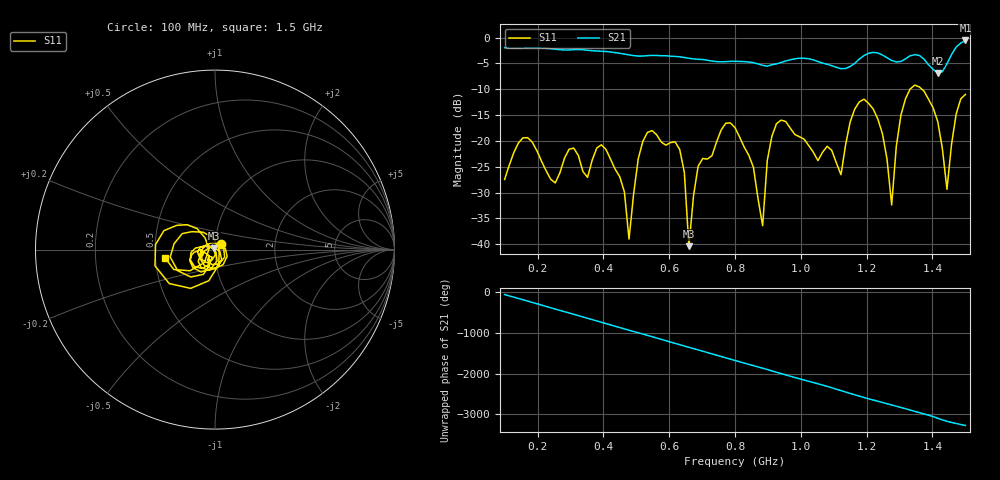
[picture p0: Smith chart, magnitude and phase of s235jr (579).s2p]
! NanoVNA-App
! Date: 2025-09-25 15:08:40
! Start: 100MHz Stop: 1,5GHz Points: 101
! S-Parameter data: F S11 S21 S12 S22
# Hz S RI R 50
!  Frequency  S11_Real  S11_Imag  S21_Real  S21_Imag  S12_Real  S12_Imag  S22_Real  S22_Imag
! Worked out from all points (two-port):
!   101 points, 100 MHz to 1.5 GHz, reference 50 ohm
!   highest |S21| = -0.57 dB at 1.5 GHz (marker M1); lowest = -6.9 dB at 1.416 GHz (marker M2)
!   |S21| within 3 dB of the highest: start of sweep to 502.8 MHz; 523.3 MHz to 595.9 MHz (72.61 MHz wide, 13 % of centre) (the widest 2 of 5)
!   lowest |S11| = -40.4 dB at 660 MHz (marker M3), VSWR 1.02, Z = 49.3 + j0.622 ohm
!   |S11| at or under -10 dB: start of sweep to 1.332 GHz; 1.368 GHz to end of sweep
!   S12 and S22 are empty: the file has one direction only
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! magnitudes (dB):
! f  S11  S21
! 100 MHz  -27.5  -2.0
! 156 MHz  -19.4  -2.0
! 338 MHz  -25.9  -2.4
! 408 MHz  -21.7  -2.7
! 478 MHz  -39.0  -3.4
! 520 MHz  -20.1  -3.6
! 576 MHz  -20.2  -3.5
! 632 MHz  -21.7  -3.7
! 660 MHz  -40.4  -4.0
! 688 MHz  -24.9  -4.2
! 800 MHz  -17.5  -4.6
! 884 MHz  -36.4  -5.4
! 926 MHz  -16.7  -5.1
! 1.038 GHz  -22.2  -4.3
! 1.122 GHz  -26.6  -6.0
! 1.192 GHz  -11.9  -3.5
! 1.248 GHz  -18.6  -3.4
! 1.276 GHz  -32.4  -4.4
! 1.332 GHz  -10.0  -3.5
! 1.416 GHz  -16.3  -6.9
! 1.444 GHz  -29.4  -5.1
! 1.5 GHz  -11.0  -0.6
